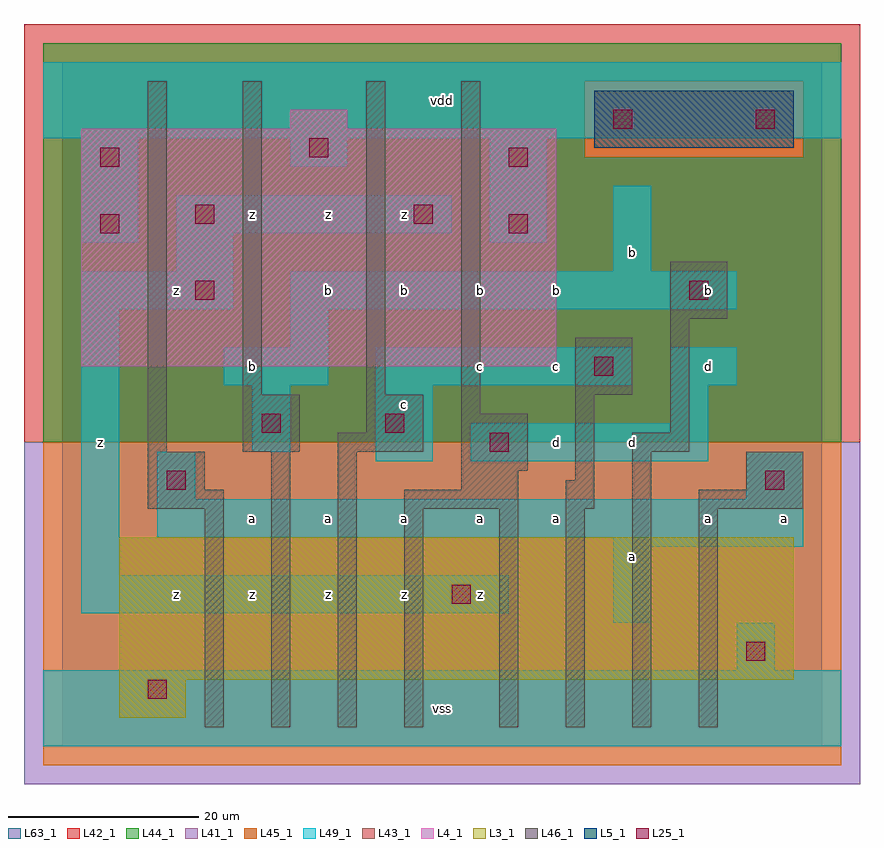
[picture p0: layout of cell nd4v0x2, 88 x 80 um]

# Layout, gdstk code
import gdstk
lib = gdstk.Library(unit=1e-6, precision=1e-09)
def R(c, l, rs):  # rectangles x0, y0, x1, y1
    for r in rs: c.add(gdstk.rectangle(r[:2], r[2:], *l))
L3_1 = (3, 1)
L4_1 = (4, 1)
L5_1 = (5, 1)
L25_1 = (25, 1)
L41_1 = (41, 1)
L42_1 = (42, 1)
L43_1 = (43, 1)
L44_1 = (44, 1)
L45_1 = (45, 1)
L46_1 = (46, 1)
L49_1 = (49, 1)
L63_1 = (63, 1)

nd4v0x2 = lib.new_cell('nd4v0x2')
R(nd4v0x2, L3_1, [(6,3,13,7), (6,7,77,22)])
R(nd4v0x2, L4_1, [(2,40,52,65), (24,65,30,67)])
R(nd4v0x2, L5_1, [(56,63,77,69)])
R(nd4v0x2, L25_1, [(9,5,11,7), (72,9,74,11), (41,15,43,17), (11,27,13,29), (74,27,76,29), (45,31,47,33), (21,33,23,35), (34,33,36,35), (56,39,58,41), (14,47,16,49), (66,47,68,49), (4,54,6,56), (47,54,49,56), (14,55,16,57), (37,55,39,57), (4,61,6,63), (47,61,49,63), (26,62,28,64), (58,65,60,67), (73,65,75,67)])
R(nd4v0x2, L41_1, [(-4,-4,84,32)])
R(nd4v0x2, L42_1, [(-4,32,84,76)])
R(nd4v0x2, L43_1, [(6,3,13,7), (6,7,77,22), (2,40,52,65), (56,63,77,69), (24,65,30,67)])
R(nd4v0x2, L44_1, [(-2,32,82,62), (-2,62,55,70), (78,62,82,70), (-2,70,82,74)])
R(nd4v0x2, L45_1, [(-2,-2,82,32), (55,62,78,70)])
R(nd4v0x2, L46_1, [(15,2,17,25), (22,2,24,31), (29,2,31,31), (36,2,38,25), (46,2,48,25), (53,2,55,25), (60,2,62,31), (67,2,69,25), (9,25,17,27), (36,25,48,27), (53,25,56,28), (67,25,78,27), (9,27,15,31), (42,27,48,29), (72,27,78,31), (54,28,56,37), (42,29,49,35), (9,31,11,70), (19,31,25,37), (29,31,38,33), (60,31,66,33), (32,33,38,37), (64,33,66,45), (42,35,44,70), (19,37,21,70), (32,37,34,70), (54,37,60,43), (64,45,70,51)])
R(nd4v0x2, L49_1, [(-2,0,82,8), (71,8,75,13), (58,13,62,21), (2,14,47,18), (2,18,6,46), (58,21,78,22), (10,22,78,26), (10,26,14,31), (72,26,78,31), (33,30,39,38), (43,30,68,34), (20,31,24,38), (64,34,68,38), (17,38,28,42), (33,38,60,42), (64,38,71,42), (24,42,28,46), (2,46,18,50), (24,46,71,50), (12,50,18,54), (58,50,62,59), (2,53,8,64), (45,53,51,64), (12,54,41,58), (24,61,30,64), (-2,64,82,72)])
R(nd4v0x2, L63_1, [(0,0,80,72)])
nd4v0x2.add(gdstk.Label('z', (4,32), layer=49, texttype=1))
nd4v0x2.add(gdstk.Label('z', (20,16), layer=49, texttype=1))
nd4v0x2.add(gdstk.Label('z', (28,16), layer=49, texttype=1))
nd4v0x2.add(gdstk.Label('z', (12,16), layer=49, texttype=1))
nd4v0x2.add(gdstk.Label('a', (20,24), layer=49, texttype=1))
nd4v0x2.add(gdstk.Label('a', (28,24), layer=49, texttype=1))
nd4v0x2.add(gdstk.Label('b', (20,40), layer=49, texttype=1))
nd4v0x2.add(gdstk.Label('z', (12,48), layer=49, texttype=1))
nd4v0x2.add(gdstk.Label('b', (28,48), layer=49, texttype=1))
nd4v0x2.add(gdstk.Label('z', (20,56), layer=49, texttype=1))
nd4v0x2.add(gdstk.Label('z', (28,56), layer=49, texttype=1))
nd4v0x2.add(gdstk.Label('vss', (40,4), layer=49, texttype=1))
nd4v0x2.add(gdstk.Label('z', (36,16), layer=49, texttype=1))
nd4v0x2.add(gdstk.Label('z', (44,16), layer=49, texttype=1))
nd4v0x2.add(gdstk.Label('a', (36,24), layer=49, texttype=1))
nd4v0x2.add(gdstk.Label('a', (44,24), layer=49, texttype=1))
nd4v0x2.add(gdstk.Label('c', (44,40), layer=49, texttype=1))
nd4v0x2.add(gdstk.Label('c', (36,36), layer=49, texttype=1))
nd4v0x2.add(gdstk.Label('b', (36,48), layer=49, texttype=1))
nd4v0x2.add(gdstk.Label('b', (44,48), layer=49, texttype=1))
nd4v0x2.add(gdstk.Label('z', (36,56), layer=49, texttype=1))
nd4v0x2.add(gdstk.Label('vdd', (40,68), layer=49, texttype=1))
nd4v0x2.add(gdstk.Label('a', (52,24), layer=49, texttype=1))
nd4v0x2.add(gdstk.Label('a', (60,20), layer=49, texttype=1))
nd4v0x2.add(gdstk.Label('d', (60,32), layer=49, texttype=1))
nd4v0x2.add(gdstk.Label('d', (52,32), layer=49, texttype=1))
nd4v0x2.add(gdstk.Label('c', (52,40), layer=49, texttype=1))
nd4v0x2.add(gdstk.Label('b', (52,48), layer=49, texttype=1))
nd4v0x2.add(gdstk.Label('b', (60,52), layer=49, texttype=1))
nd4v0x2.add(gdstk.Label('a', (68,24), layer=49, texttype=1))
nd4v0x2.add(gdstk.Label('a', (76,24), layer=49, texttype=1))
nd4v0x2.add(gdstk.Label('d', (68,40), layer=49, texttype=1))
nd4v0x2.add(gdstk.Label('b', (68,48), layer=49, texttype=1))

lib.write_gds('nd4v0x2.gds')
